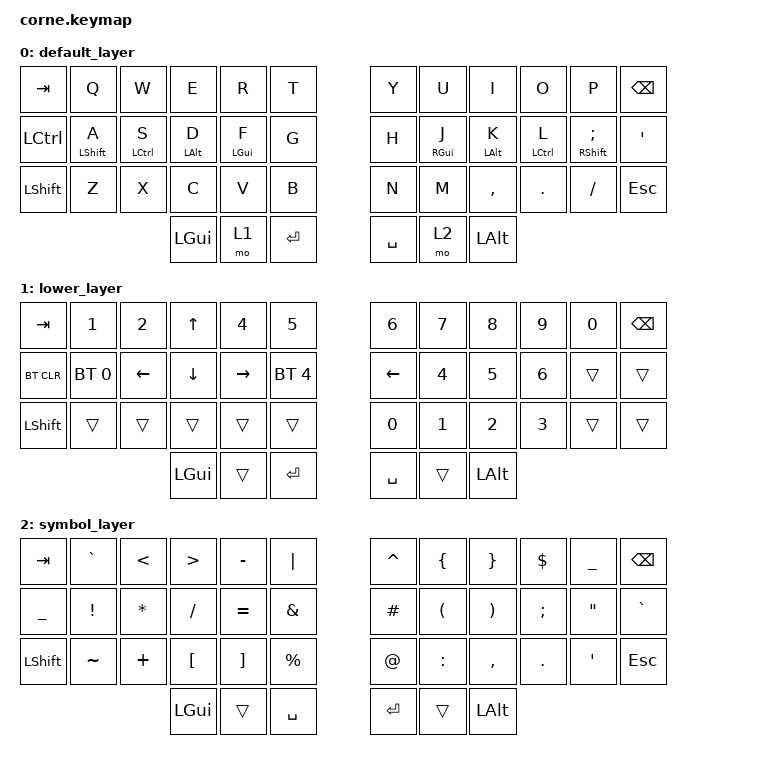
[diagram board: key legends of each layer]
/*
 * Copyright (c) 2020 The ZMK Contributors
 *
 * SPDX-License-Identifier: MIT
 */

#include <behaviors.dtsi>
#include <dt-bindings/zmk/bt.h>
#include <dt-bindings/zmk/keys.h>

/ {
    behaviors {
        HRM_R: HRM_R {
            compatible = "zmk,behavior-hold-tap";
            label = "HRM_R";
            bindings = <&kp>, <&kp>;

            #binding-cells = <2>;
            tapping-term-ms = <200>;
            flavor = "tap-preferred";
            hold-while-undecided;
            hold-trigger-on-release;
            hold-trigger-key-positions = <0 1 2 3 4 5 12 13 14 15 16 17 24 25 26 27 28 29 36 37 38>;
        };

        HMR_L: HMR_L {
            compatible = "zmk,behavior-hold-tap";
            label = "HMR_L";
            bindings = <&kp>, <&kp>;

            #binding-cells = <2>;
            tapping-term-ms = <200>;
            flavor = "tap-preferred";
            hold-while-undecided;
            hold-trigger-on-release;
            hold-trigger-key-positions = <6 7 8 9 10 11 18 19 20 21 22 23 30 31 32 33 34 35 39 40 41>;
        };
    };

    keymap {
        compatible = "zmk,keymap";

        default_layer {
            // -----------------------------------------------------------------------------------------
            // |  TAB |  Q  |  W  |  E  |  R  |  T  |   |  Y  |  U   |  I  |  O  |  P  | BSPC |
            // | CTRL |  A  |  S  |  D  |  F  |  G  |   |  H  |  J   |  K  |  L  |  ;  |  '   |
            // | SHFT |  Z  |  X  |  C  |  V  |  B  |   |  N  |  M   |  ,  |  .  |  /  | ESC  |
            //                    | GUI | LWR | SPC |   | ENT | RSE  | ALT |

            bindings = <
&kp TAB    &kp Q                &kp W           &kp E          &kp R              &kp T        &kp Y      &kp U               &kp I          &kp O           &kp P                         &kp BSPC
&kp LCTRL  &HMR_L LEFT_SHIFT A  &HMR_L LCTRL S  &HMR_L LALT D  &HMR_L LEFT_GUI F  &kp G        &kp H      &HRM_R RIGHT_GUI J  &HRM_R LALT K  &HRM_R LCTRL L  &HRM_R RIGHT_SHIFT SEMICOLON  &kp SQT
&kp LSHFT  &kp Z                &kp X           &kp C          &kp V              &kp B        &kp N      &kp M               &kp COMMA      &kp DOT         &kp FSLH                      &kp ESC
                                                &kp LGUI       &mo 1              &kp ENTER    &kp SPACE  &mo 2               &kp LALT
            >;
        };

        lower_layer {
            // -----------------------------------------------------------------------------------------
            // |  TAB |  1  |  2  |  3  |  4  |  5  |   |  6  |  7  |  8  |  9  |  0  | BSPC |
            // | BTCLR| BT1 | BT2 | BT3 | BT4 | BT5 |   | LFT | DWN |  UP | RGT |     |      |
            // | SHFT |     |     |     |     |     |   |     |     |     |     |     |      |
            //                    | GUI |     | SPC |   | ENT |     | ALT |

            bindings = <
&kp TAB     &kp N1        &kp N2    &kp UP    &kp N4     &kp N5          &kp N6     &kp N7  &kp N8        &kp N9  &kp N0  &kp BSPC
&bt BT_CLR  &bt BT_SEL 0  &kp LEFT  &kp DOWN  &kp RIGHT  &bt BT_SEL 4    &kp LEFT   &kp N4  &kp N5        &kp N6  &trans  &trans
&kp LSHFT   &trans        &trans    &trans    &trans     &trans          &kp N0     &kp N1  &kp N2        &kp N3  &trans  &trans
                                    &kp LGUI  &trans     &kp ENTER       &kp SPACE  &trans  &kp LEFT_ALT
            >;
        };

        symbol_layer {
            // -----------------------------------------------------------------------------------------
            // |  TAB |  !  |  @  |  #  |  $  |  %  |   |  ^  |  &  |  *  |  (  |  )  | BSPC |
            // | CTRL |     |     |     |     |     |   |  -  |  =  |  [  |  ]  |  \  |  `   |
            // | SHFT |     |     |     |     |     |   |  _  |  +  |  {  |  }  | "|" |  ~   |
            //                    | GUI |     | SPC |   | ENT |     | ALT |

            bindings = <
&kp TAB         &kp GRAVE        &kp LESS_THAN  &kp GREATER_THAN  &kp MINUS          &kp PIPE         &kp CARET    &kp LBRC   &kp RBRC               &kp DOLLAR     &kp UNDERSCORE     &kp BSPC
&kp UNDERSCORE  &kp EXCLAMATION  &kp ASTERISK   &kp FSLH          &kp EQUAL          &kp AMPERSAND    &kp POUND    &kp LPAR   &kp RIGHT_PARENTHESIS  &kp SEMICOLON  &kp DOUBLE_QUOTES  &kp GRAVE
&kp LSHFT       &kp TILDE        &kp PLUS       &kp LEFT_BRACKET  &kp RIGHT_BRACKET  &kp PERCENT      &kp AT_SIGN  &kp COLON  &kp COMMA              &kp PERIOD     &kp SQT            &kp ESC
                                                &kp LGUI          &trans             &kp SPACE        &kp RET      &trans     &kp LALT
            >;
        };
    };
};
